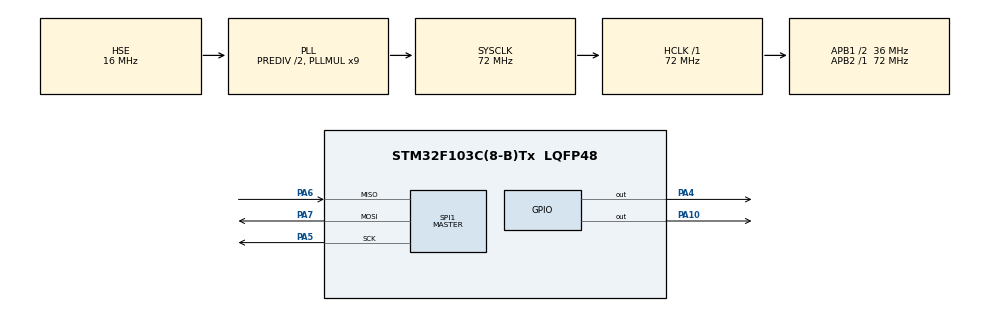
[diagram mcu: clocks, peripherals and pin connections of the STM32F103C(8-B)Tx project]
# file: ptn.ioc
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Mcu.Family=STM32F1
Mcu.Name=STM32F103C(8-B)Tx
Mcu.Package=LQFP48
NVIC.PriorityGroup=NVIC_PRIORITYGROUP_4
PA10.Signal=GPIO_Output
PA13.Mode=Serial_Wire
PA13.Signal=SYS_JTMS-SWDIO
PA14.Mode=Serial_Wire
PA14.Signal=SYS_JTCK-SWCLK
PA4.Signal=GPIO_Output
PA5.Mode=Full_Duplex_Master
PA5.Signal=SPI1_SCK
PA6.Mode=Full_Duplex_Master
PA6.Signal=SPI1_MISO
PA7.Mode=Full_Duplex_Master
PA7.Signal=SPI1_MOSI
PD0-OSC_IN.Mode=HSE-External-Oscillator
PD0-OSC_IN.Signal=RCC_OSC_IN
PD1-OSC_OUT.Mode=HSE-External-Oscillator
PD1-OSC_OUT.Signal=RCC_OSC_OUT
ProjectManager.HeapSize=0x200
ProjectManager.StackSize=0x400
ProjectManager.TargetToolchain=Makefile
RCC.AHBFreq_Value=72000000
RCC.APB1CLKDivider=RCC_HCLK_DIV2
RCC.APB1Freq_Value=36000000
RCC.APB1TimFreq_Value=72000000
RCC.APB2Freq_Value=72000000
RCC.APB2TimFreq_Value=72000000
RCC.HCLKFreq_Value=72000000
RCC.HSEDivPLL=RCC_HSE_PREDIV_DIV2
RCC.HSE_VALUE=16000000
RCC.PLLMUL=RCC_PLL_MUL9
RCC.PLLSourceVirtual=RCC_PLLSOURCE_HSE
RCC.SYSCLKFreq_VALUE=72000000
RCC.SYSCLKSource=RCC_SYSCLKSOURCE_PLLCLK
RCC.USBFreq_Value=72000000
SPI1.Direction=SPI_DIRECTION_2LINES
SPI1.Mode=SPI_MODE_MASTER
SPI1.VirtualType=VM_MASTER
board=custom

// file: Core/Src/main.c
/* USER CODE BEGIN Header */
/**
  ******************************************************************************
  * @file           : main.c
  * @brief          : Main program body
  ******************************************************************************
  * @attention
  *
  * Copyright (c) 2024 STMicroelectronics.
  * All rights reserved.
  *
  * This software is licensed under terms that can be found in the LICENSE file
  * in the root directory of this software component.
  * If no LICENSE file comes with this software, it is provided AS-IS.
  *
  ******************************************************************************
  */
/* USER CODE END Header */
#include "main.h"

/* USER CODE BEGIN Includes */
#include "adf4351.h"
/* USER CODE END Includes */

SPI_HandleTypeDef hspi1;

void SystemClock_Config(void);
static void MX_GPIO_Init(void);
static void MX_SPI1_Init(void);
/* USER CODE BEGIN PFP */
void cmd_sm_init(void);
/* USER CODE END PFP */

int main(void)
{

  /* MCU Configuration--------------------------------------------------------*/

  /* Reset of all peripherals, Initializes the Flash interface and the Systick. */
  HAL_Init();

  /* USER CODE BEGIN Init */

  // Set up initial state for SPI IO pins:
  HAL_GPIO_WritePin(SPI1_CSn_GPIO_Port, SPI1_CSn_Pin, 1);
  HAL_GPIO_WritePin(SPI1_LD_GPIO_Port, SPI1_LD_Pin, 1);

  /* USER CODE END Init */

  /* Configure the system clock */
  SystemClock_Config();

  /* Initialize all configured peripherals */
  MX_GPIO_Init();
  MX_SPI1_Init();
  /* USER CODE BEGIN 2 */
  cmd_sm_init();
  /* USER CODE END 2 */

  /* Infinite loop */
  /* USER CODE BEGIN WHILE */

  // Set frequency:
  // adf4350_out_altvoltage0_frequency(915000000);

  // Power up the PLL:
  adf4350_out_altvoltage0_powerdown(0);

  uint64_t freq = 902e6;
  // adf4350_out_altvoltage0_frequency(freq);

  while (1)
  {
    /* USER CODE END WHILE */

    /* USER CODE BEGIN 3 */
    // adf4350_out_altvoltage0_frequency(freq);
    // if (freq >= 928e6)
    // {
    //   freq = 902e6;
    // }
    // else
    // {
    //   freq += 0.5e6;
    // }
    // HAL_Delay(100);

    adf4350_out_altvoltage0_frequency(915e6);
    HAL_Delay(200);
    adf4350_out_altvoltage0_frequency(916e6);
    HAL_Delay(200);
  }
  /* USER CODE END 3 */
}

void SystemClock_Config(void)
{
  RCC_OscInitTypeDef RCC_OscInitStruct = {0};
  RCC_ClkInitTypeDef RCC_ClkInitStruct = {0};

  /** Initializes the RCC Oscillators according to the specified parameters
  * in the RCC_OscInitTypeDef structure.
  */
  RCC_OscInitStruct.OscillatorType = RCC_OSCILLATORTYPE_HSE;
  RCC_OscInitStruct.HSEState = RCC_HSE_ON;
  RCC_OscInitStruct.HSEPredivValue = RCC_HSE_PREDIV_DIV2;
  RCC_OscInitStruct.HSIState = RCC_HSI_ON;
  RCC_OscInitStruct.PLL.PLLState = RCC_PLL_ON;
  RCC_OscInitStruct.PLL.PLLSource = RCC_PLLSOURCE_HSE;
  RCC_OscInitStruct.PLL.PLLMUL = RCC_PLL_MUL9;
  if (HAL_RCC_OscConfig(&RCC_OscInitStruct) != HAL_OK)
  {
    Error_Handler();
  }

  /** Initializes the CPU, AHB and APB buses clocks
  */
  RCC_ClkInitStruct.ClockType = RCC_CLOCKTYPE_HCLK|RCC_CLOCKTYPE_SYSCLK
                              |RCC_CLOCKTYPE_PCLK1|RCC_CLOCKTYPE_PCLK2;
  RCC_ClkInitStruct.SYSCLKSource = RCC_SYSCLKSOURCE_PLLCLK;
  RCC_ClkInitStruct.AHBCLKDivider = RCC_SYSCLK_DIV1;
  RCC_ClkInitStruct.APB1CLKDivider = RCC_HCLK_DIV2;
  RCC_ClkInitStruct.APB2CLKDivider = RCC_HCLK_DIV1;

  if (HAL_RCC_ClockConfig(&RCC_ClkInitStruct, FLASH_LATENCY_2) != HAL_OK)
  {
    Error_Handler();
  }
}

static void MX_SPI1_Init(void)
{

  /* SPI1 parameter configuration*/
  hspi1.Instance = SPI1;
  hspi1.Init.Mode = SPI_MODE_MASTER;
  hspi1.Init.Direction = SPI_DIRECTION_2LINES;
  hspi1.Init.DataSize = SPI_DATASIZE_8BIT;
  hspi1.Init.CLKPolarity = SPI_POLARITY_LOW;
  hspi1.Init.CLKPhase = SPI_PHASE_1EDGE;
  hspi1.Init.NSS = SPI_NSS_SOFT;
  hspi1.Init.BaudRatePrescaler = SPI_BAUDRATEPRESCALER_2;
  hspi1.Init.FirstBit = SPI_FIRSTBIT_MSB;
  hspi1.Init.TIMode = SPI_TIMODE_DISABLE;
  hspi1.Init.CRCCalculation = SPI_CRCCALCULATION_DISABLE;
  hspi1.Init.CRCPolynomial = 10;
  if (HAL_SPI_Init(&hspi1) != HAL_OK)
  {
    Error_Handler();
  }

}

static void MX_GPIO_Init(void)
{
  GPIO_InitTypeDef GPIO_InitStruct = {0};

  /* GPIO Ports Clock Enable */
  __HAL_RCC_GPIOD_CLK_ENABLE();
  __HAL_RCC_GPIOA_CLK_ENABLE();

  /*Configure GPIO pin Output Level */
  HAL_GPIO_WritePin(GPIOA, GPIO_PIN_4|GPIO_PIN_10, GPIO_PIN_RESET);

  /*Configure GPIO pins : PA4 PA10 */
  GPIO_InitStruct.Pin = GPIO_PIN_4|GPIO_PIN_10;
  GPIO_InitStruct.Mode = GPIO_MODE_OUTPUT_PP;
  GPIO_InitStruct.Pull = GPIO_NOPULL;
  GPIO_InitStruct.Speed = GPIO_SPEED_FREQ_LOW;
  HAL_GPIO_Init(GPIOA, &GPIO_InitStruct);

}

/* USER CODE BEGIN 4 */
adf4350_init_param pll_config;

void cmd_sm_init() {
  // initialize pll_config structure
  pll_config.clkin = 25e6;
  pll_config.channel_spacing = 100;
  pll_config.power_up_frequency = 146e6;
  pll_config.reference_div_factor = 1;
  pll_config.reference_doubler_enable = 0;
  pll_config.reference_div2_enable = 0;
  pll_config.phase_detector_polarity_positive_enable = 1;
  pll_config.lock_detect_precision_6ns_enable = 0; // 10 ns
  pll_config.lock_detect_function_integer_n_enable = 0; // Fractional pll
  pll_config.charge_pump_current = 7; //2.50
  pll_config.muxout_select = 6; // Digital Lock Detect Out
  pll_config.low_spur_mode_enable = 1; // higher noise, lower spurs.
  pll_config.cycle_slip_reduction_enable = 0;
  pll_config.charge_cancellation_enable = 0;
  pll_config.anti_backlash_3ns_enable = 0;
  pll_config.band_select_clock_mode_high_enable = 0; // low
  pll_config.clk_divider_12bit = 0;
  pll_config.clk_divider_mode = 0;
  pll_config.aux_output_enable = 0;
  pll_config.aux_output_fundamental_enable = 0;
  pll_config.mute_till_lock_enable = 1;
  pll_config.output_power = 2; // +2 dBm
  pll_config.aux_output_power = ADF4541_POWER_N4_DBM;
  adf4350_out_altvoltage0_powerdown(0); // power down PLL
  adf4350_setup(pll_config);
}
/* USER CODE END 4 */

void Error_Handler(void)
{
  __disable_irq();
  while (1)
  {
  }
}
